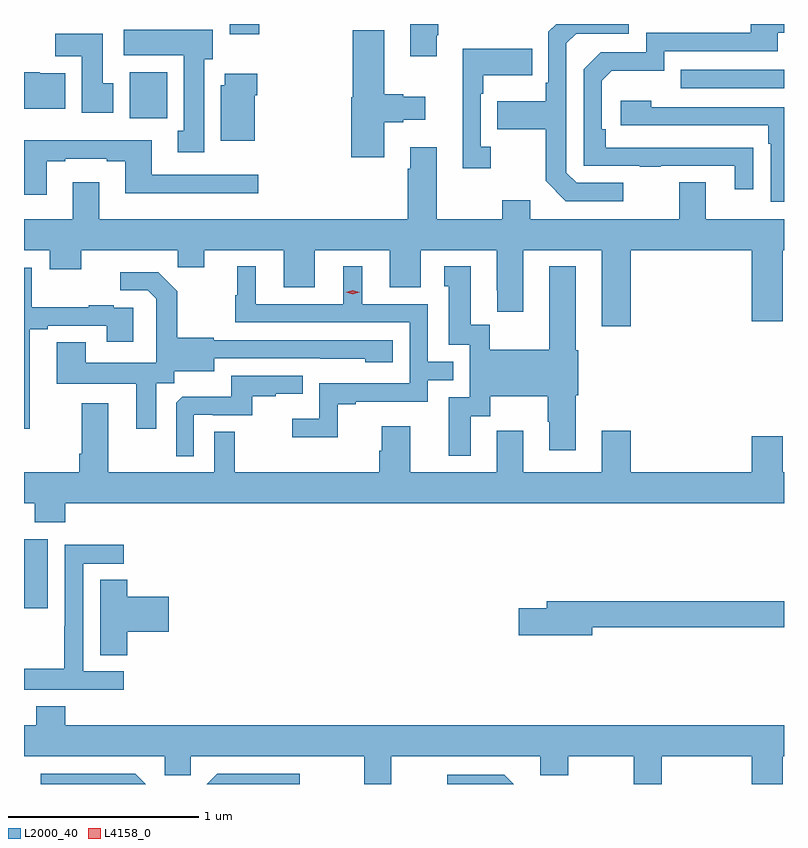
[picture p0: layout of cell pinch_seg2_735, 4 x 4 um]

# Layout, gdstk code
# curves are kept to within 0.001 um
import gdstk
lib = gdstk.Library(unit=1e-6, precision=1e-09)
def R(c, l, rs):  # rectangles x0, y0, x1, y1
    for r in rs: c.add(gdstk.rectangle(r[:2], r[2:], *l))
def P(c, l, *ps):  # polygons
    for p in ps: c.add(gdstk.Polygon(p, *l))
L2000_40 = (2000, 40)
L4158_0 = (4158, 0)

pinch_seg2_735 = lib.new_cell('pinch_seg2_735')
R(pinch_seg2_735, L2000_40, [(868.471,656.409,868.597,656.77), (869.027,658.988,869.224,659.23), (871.927,659.145,872.471,659.241), (869.555,659.43,869.708,659.483)])
P(pinch_seg2_735, L2000_40, [(871.624,658.647),(871.38,658.647),(871.326,658.701),(871.326,659.382),(871.377,659.433),(871.654,659.433),(871.654,659.483),(871.271,659.483),(871.23,659.442),(871.23,659.173),(871.218,659.173),(871.218,659.077),(870.961,659.077),(870.961,658.93),(871.218,658.93),(871.218,658.657),(871.323,658.551),(871.624,658.551)],
  [(870.643,659.425),(870.651,659.425),(870.651,659.483),(870.503,659.483),(870.503,659.313),(870.643,659.313)],
  [(872.309,658.832),(871.532,658.833),(871.532,658.93),(871.512,658.93),(871.512,659.184),(871.565,659.237),(871.842,659.237),(871.842,659.34),(872.437,659.34),(872.437,659.436),(872.471,659.436),(872.471,659.483),(872.297,659.483),(872.297,659.436),(871.746,659.436),(871.746,659.334),(871.506,659.334),(871.416,659.244),(871.416,658.737),(871.711,658.737),(871.711,658.732),(871.823,658.732),(871.823,658.737),(872.213,658.737),(872.213,658.614),(872.309,658.614)],
  [(869.419,659.298),(869.464,659.298),(869.464,659.452),(868.995,659.452),(868.995,659.318),(869.312,659.318),(869.312,658.922),(869.279,658.922),(869.279,658.809),(869.419,658.809)],
  [(870.367,658.967),(870.467,658.967),(870.467,658.979),(870.583,658.979),(870.583,659.101),(870.467,659.101),(870.467,659.114),(870.367,659.114),(870.367,659.449),(870.2,659.449),(870.2,659.097),(870.194,659.097),(870.194,658.782),(870.367,658.782)],
  [(868.942,659.172),(868.885,659.172),(868.885,659.431),(868.636,659.431),(868.636,659.312),(868.775,659.312),(868.775,659.016),(868.942,659.016)],
  [(870.928,658.838),(870.876,658.838),(870.876,659.117),(870.889,659.117),(870.889,659.213),(871.145,659.213),(871.145,659.353),(870.779,659.353),(870.779,658.725),(870.928,658.725)],
  [(868.687,659.224),(868.554,659.224),(868.554,659.23),(868.471,659.23),(868.471,659.036),(868.687,659.036)],
  [(869.686,659.108),(869.699,659.108),(869.699,659.221),(869.528,659.221),(869.528,659.16),(869.507,659.16),(869.507,658.868),(869.686,658.868)],
  [(872.471,659.046),(871.772,659.046),(871.772,659.08),(871.611,659.08),(871.611,658.95),(872.387,658.95),(872.387,658.853),(872.4,658.853),(872.4,658.548),(872.471,658.548)],
  [(868.591,658.761),(868.687,658.761),(868.687,658.773),(868.907,658.773),(868.907,658.761),(869.003,658.761),(869.003,658.592),(869.704,658.592),(869.704,658.689),(869.143,658.689),(869.143,658.87),(868.471,658.87),(868.471,658.584),(868.591,658.584)],
  [(870.643,658.834),(870.503,658.834),(870.503,658.721),(870.491,658.721),(870.491,658.456),(868.867,658.456),(868.867,658.651),(868.727,658.651),(868.727,658.456),(868.471,658.456),(868.471,658.292),(868.607,658.292),(868.607,658.193),(868.771,658.193),(868.771,658.292),(869.281,658.292),(869.281,658.202),(869.419,658.202),(869.419,658.292),(869.837,658.292),(869.837,658.098),(870.001,658.098),(870.001,658.292),(870.395,658.292),(870.395,658.098),(870.559,658.098),(870.559,658.292),(870.959,658.292),(870.959,658.081),(870.962,658.081),(870.962,657.969),(871.099,657.969),(871.099,658.292),(871.511,658.292),(871.511,657.891),(871.664,657.891),(871.664,658.292),(872.3,658.292),(872.3,657.918),(872.464,657.918),(872.464,658.292),(872.471,658.292),(872.471,658.456),(872.059,658.456),(872.059,658.651),(871.919,658.651),(871.919,658.456),(871.135,658.456),(871.135,658.555),(870.988,658.555),(870.988,658.456),(870.643,658.456)],
  [(870.123,657.483),(870.217,657.483),(870.217,657.495),(870.597,657.495),(870.597,657.609),(870.731,657.609),(870.731,657.705),(870.597,657.705),(870.597,658.008),(870.25,658.008),(870.25,658.207),(870.152,658.207),(870.152,658.008),(869.692,658.008),(869.692,658.207),(869.594,658.207),(869.594,658.056),(869.583,658.056),(869.583,657.912),(870.501,657.912),(870.501,657.591),(870.024,657.591),(870.024,657.406),(869.883,657.406),(869.883,657.308),(870.123,657.308)],
  [(870.823,657.418),(870.925,657.418),(870.925,657.524),(871.228,657.524),(871.228,657.39),(871.235,657.39),(871.235,657.24),(871.375,657.24),(871.375,657.528),(871.388,657.528),(871.388,657.765),(871.375,657.765),(871.375,658.207),(871.235,658.207),(871.235,657.769),(870.921,657.769),(870.921,657.899),(870.823,657.899),(870.823,658.207),(870.683,658.207),(870.683,658.104),(870.707,658.104),(870.707,657.795),(870.816,657.795),(870.816,657.519),(870.707,657.519),(870.707,657.21),(870.823,657.21)],
  [(868.501,657.876),(868.597,657.876),(868.597,657.894),(868.907,657.894),(868.907,657.81),(869.047,657.81),(869.047,657.99),(868.943,657.99),(868.943,658.003),(868.811,658.003),(868.811,657.992),(868.513,657.992),(868.513,658.2),(868.471,658.2),(868.471,657.354),(868.501,657.354)],
  [(869.167,657.592),(869.262,657.592),(869.262,657.656),(869.473,657.656),(869.473,657.723),(870.267,657.722),(870.267,657.704),(870.412,657.704),(870.412,657.819),(869.469,657.819),(869.469,657.832),(869.277,657.832),(869.277,658.077),(869.177,658.177),(868.977,658.177),(868.977,658.083),(869.121,658.083),(869.168,658.036),(869.168,657.941),(869.166,657.941),(869.166,657.7),(868.795,657.7),(868.795,657.809),(868.643,657.809),(868.643,657.59),(869.063,657.59),(869.063,657.354),(869.167,657.354)],
  [(869.364,657.426),(869.464,657.426),(869.464,657.423),(869.672,657.423),(869.672,657.525),(869.795,657.525),(869.795,657.536),(869.939,657.536),(869.939,657.633),(869.562,657.633),(869.562,657.521),(869.303,657.521),(869.271,657.489),(869.271,657.209),(869.364,657.209)],
  [(872.471,657.124),(872.464,657.124),(872.464,657.313),(872.3,657.313),(872.3,657.124),(871.664,657.124),(871.664,657.343),(871.511,657.343),(871.511,657.124),(871.099,657.124),(871.099,657.343),(870.959,657.343),(870.959,657.124),(870.505,657.124),(870.505,657.367),(870.353,657.367),(870.353,657.237),(870.341,657.237),(870.341,657.124),(869.581,657.124),(869.581,657.338),(869.472,657.338),(869.472,657.124),(868.915,657.124),(868.915,657.487),(868.775,657.487),(868.775,657.22),(868.763,657.22),(868.763,657.124),(868.471,657.124),(868.471,656.96),(868.528,656.96),(868.528,656.861),(868.688,656.861),(868.688,656.96),(872.471,656.96)],
  [(868.996,656.076),(868.782,656.076),(868.782,656.643),(868.996,656.643),(868.996,656.742),(868.686,656.742),(868.686,656.312),(868.684,656.312),(868.684,656.089),(868.471,656.089),(868.471,655.98),(868.996,655.98)],
  [(869.015,656.285),(869.233,656.285),(869.233,656.468),(869.015,656.468),(869.015,656.558),(868.871,656.558),(868.871,656.161),(869.015,656.161)],
  [(871.462,656.308),(872.471,656.308),(872.471,656.444),(871.223,656.444),(871.223,656.408),(871.074,656.408),(871.074,656.266),(871.462,656.266)],
  [(868.688,655.891),(868.535,655.891),(868.535,655.792),(868.471,655.792),(868.471,655.628),(869.211,655.628),(869.211,655.53),(869.349,655.53),(869.349,655.628),(870.263,655.628),(870.263,655.483),(870.403,655.483),(870.403,655.628),(871.187,655.628),(871.187,655.529),(871.335,655.529),(871.335,655.628),(871.679,655.628),(871.679,655.483),(871.827,655.483),(871.827,655.628),(872.3,655.628),(872.3,655.483),(872.464,655.483),(872.464,655.628),(872.471,655.628),(872.471,655.792),(868.688,655.792)],
  [(869.057,655.537),(868.56,655.537),(868.56,655.483),(869.111,655.483)],
  [(869.922,655.536),(869.487,655.536),(869.434,655.483),(869.922,655.483)],
  [(870.999,655.533),(870.699,655.533),(870.699,655.483),(871.049,655.483)])
P(pinch_seg2_735, L4158_0, [(870.201,658.061),(870.165,658.07),(870.165,658.071),(870.165,658.071),(870.201,658.081),(870.236,658.071),(870.237,658.071),(870.236,658.07)])

lib.write_gds('pinch_seg2_735.gds')
